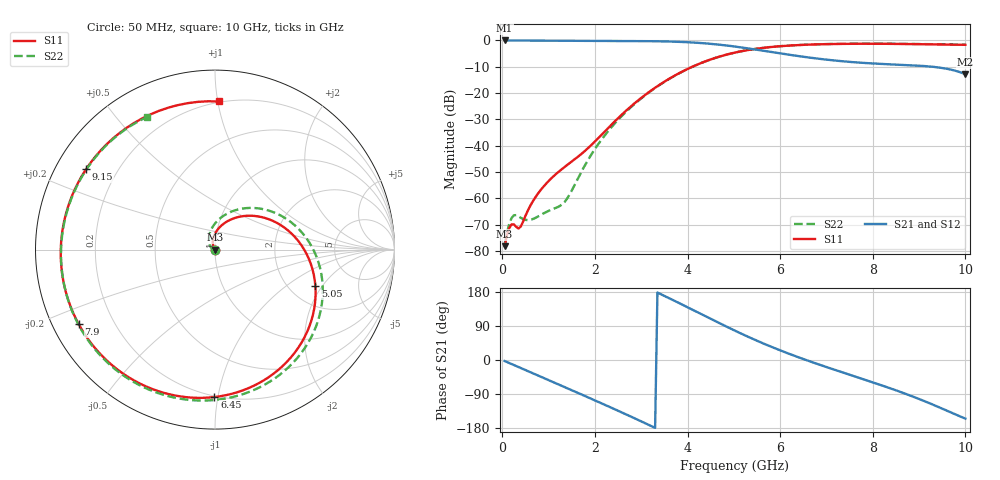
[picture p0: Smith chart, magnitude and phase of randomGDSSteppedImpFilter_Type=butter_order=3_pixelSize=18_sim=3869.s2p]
! freq	dB(S11)	phase(S11)	dB(S12)	phase(S12)
!  dB(S21)	phase(S21)	dB(S22)	phase(S22)
!S-par simulation data
#  GHz  S  DB  R 50
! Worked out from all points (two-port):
!   200 points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, 50 MHz to 10 GHz, reference 50 ohm
!   highest |S21| = 0.00 dB at 50 MHz (marker M1); lowest = -12.8 dB at 10 GHz (marker M2)
!   |S21| within 3 dB of the highest: start of sweep to 5.3 GHz
!   lowest |S11| = -78.2 dB at 50 MHz (marker M3), VSWR 1.00, Z = 50 - j0.00793 ohm
!   |S11| at or under -10 dB: start of sweep to 4.102 GHz
!   |S22| runs from -77.7 to -1.2 dB; largest |S21 - S12| = 0
!   S11 on the Smith chart (normalised r, x): 50 MHz: 1.00, -0.00; 5.05 GHz: 2.74, -1.73; 6.45 GHz: 0.19, -0.98; 7.9 GHz: 0.08, -0.25; 9.15 GHz: 0.09, +0.28; 10 GHz: 0.19, +1.01
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0.05  -78.16 -39.9  -0.00 -2.7  -0.00 -2.7  -77.68 -39.6
0.15  -71.30 -42.8  -0.01 -8.0  -0.01 -8.0  -69.67 -38.5
0.25  -69.87 -8.4  -0.02 -13.3  -0.02 -13.3  -66.41 -10.4
0.4  -70.68 79.3  -0.03 -21.2  -0.03 -21.2  -67.39 18.0
0.75  -58.67 122.9  -0.05 -39.8  -0.05 -39.8  -67.10 9.0
1.25  -49.40 110.8  -0.07 -66.3  -0.07 -66.3  -62.81 -55.4
1.4  -47.33 109.2  -0.08 -74.4  -0.08 -74.4  -60.06 -93.1
1.75  -42.50 112.0  -0.10 -93.1  -0.10 -93.1  -48.52 -154.7
2.2  -34.82 115.7  -0.13 -117.5  -0.13 -117.5  -36.35 166.7
2.7  -26.25 104.5  -0.18 -145.0  -0.18 -145.0  -26.64 133.7
3.4  -16.78 73.4  -0.32 175.1  -0.32 175.1  -16.88 90.6
3.8  -12.61 52.1  -0.52 151.3  -0.52 151.3  -12.66 66.1
4.3  -8.52 23.5  -0.99 120.9  -0.99 120.9  -8.54 35.1
5.05  -4.51 -20.0  -2.38 75.9  -2.38 75.9  -4.51 -10.1
5.7  -2.68 -54.9  -4.08 40.4  -4.08 40.4  -2.67 -45.5
6.45  -1.71 -90.2  -6.08 4.8  -6.08 4.8  -1.69 -80.7
6.7  -1.54 -101.1  -6.66 -6.1  -6.66 -6.1  -1.52 -91.3
7.9  -1.25 -151.2  -8.64 -54.9  -8.64 -54.9  -1.22 -138.8
8.35  -1.29 -171.1  -9.05 -73.5  -9.05 -73.5  -1.24 -156.7
9.15  -1.45 148.0  -9.77 -110.2  -9.77 -110.2  -1.39 167.8
9.6  -1.56 119.3  -10.77 -133.8  -10.77 -133.8  -1.49 143.5
10  -1.66 88.5  -12.80 -154.6  -12.80 -154.6  -1.61 117.2
